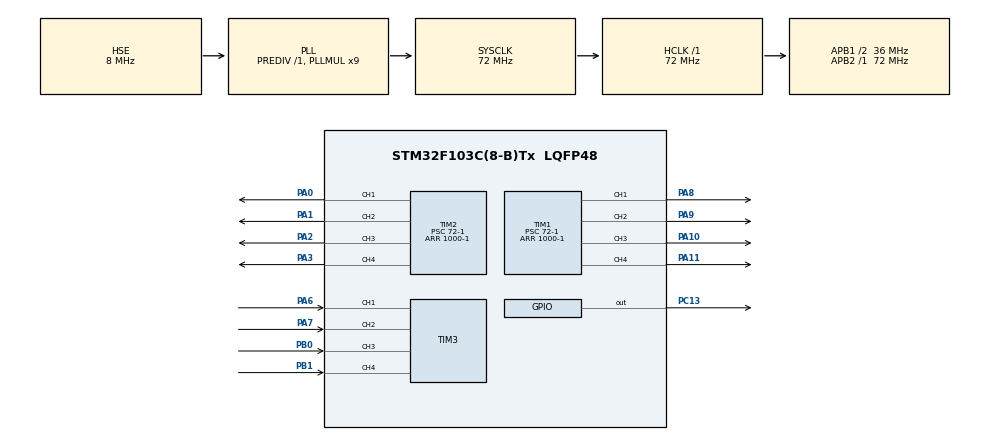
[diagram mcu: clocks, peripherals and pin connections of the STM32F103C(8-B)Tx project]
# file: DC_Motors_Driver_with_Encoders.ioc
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Mcu.Family=STM32F1
Mcu.Name=STM32F103C(8-B)Tx
Mcu.Package=LQFP48
NVIC.PriorityGroup=NVIC_PRIORITYGROUP_4
NVIC.TIM1_CC_IRQn=true\:0\:0\:false\:false\:true\:true\:true\:true
NVIC.TIM1_TRG_COM_IRQn=true\:0\:0\:false\:false\:true\:true\:true\:true
NVIC.TIM2_IRQn=true\:0\:0\:false\:false\:true\:true\:true\:true
NVIC.TIM3_IRQn=true\:0\:0\:false\:false\:true\:true\:true\:true
PA0-WKUP.Signal=S_TIM2_CH1_ETR
PA1.Signal=S_TIM2_CH2
PA10.Signal=S_TIM1_CH3
PA11.Signal=S_TIM1_CH4
PA13.Mode=Serial_Wire
PA13.Signal=SYS_JTMS-SWDIO
PA14.Mode=Serial_Wire
PA14.Signal=SYS_JTCK-SWCLK
PA2.Signal=S_TIM2_CH3
PA3.Signal=S_TIM2_CH4
PA6.Signal=S_TIM3_CH1
PA7.Signal=S_TIM3_CH2
PA8.Signal=S_TIM1_CH1
PA9.Signal=S_TIM1_CH2
PB0.Signal=S_TIM3_CH3
PB1.Signal=S_TIM3_CH4
PC13-TAMPER-RTC.Signal=GPIO_Output
PD0-OSC_IN.Mode=HSE-External-Oscillator
PD0-OSC_IN.Signal=RCC_OSC_IN
PD1-OSC_OUT.Mode=HSE-External-Oscillator
PD1-OSC_OUT.Signal=RCC_OSC_OUT
ProjectManager.HeapSize=0x200
ProjectManager.StackSize=0x400
ProjectManager.TargetToolchain=STM32CubeIDE
RCC.AHBFreq_Value=72000000
RCC.APB1CLKDivider=RCC_HCLK_DIV2
RCC.APB1Freq_Value=36000000
RCC.APB1TimFreq_Value=72000000
RCC.APB2Freq_Value=72000000
RCC.APB2TimFreq_Value=72000000
RCC.HCLKFreq_Value=72000000
RCC.PLLMUL=RCC_PLL_MUL9
RCC.PLLSourceVirtual=RCC_PLLSOURCE_HSE
RCC.SYSCLKFreq_VALUE=72000000
RCC.SYSCLKSource=RCC_SYSCLKSOURCE_PLLCLK
RCC.USBFreq_Value=72000000
SH.S_TIM1_CH1.0=TIM1_CH1,PWM Generation1 CH1
SH.S_TIM1_CH2.0=TIM1_CH2,PWM Generation2 CH2
SH.S_TIM1_CH3.0=TIM1_CH3,PWM Generation3 CH3
SH.S_TIM1_CH4.0=TIM1_CH4,PWM Generation4 CH4
SH.S_TIM2_CH1_ETR.0=TIM2_CH1,PWM Generation1 CH1
SH.S_TIM2_CH2.0=TIM2_CH2,PWM Generation2 CH2
SH.S_TIM2_CH3.0=TIM2_CH3,PWM Generation3 CH3
SH.S_TIM2_CH4.0=TIM2_CH4,PWM Generation4 CH4
SH.S_TIM3_CH1.0=TIM3_CH1,Input_Capture1_from_TI1
SH.S_TIM3_CH2.0=TIM3_CH2,Input_Capture2_from_TI2
SH.S_TIM3_CH3.0=TIM3_CH3,Input_Capture3_from_TI3
SH.S_TIM3_CH4.0=TIM3_CH4,Input_Capture4_from_TI4
TIM1.Channel-PWM\ Generation1\ CH1=TIM_CHANNEL_1
TIM1.Channel-PWM\ Generation2\ CH2=TIM_CHANNEL_2
TIM1.Channel-PWM\ Generation3\ CH3=TIM_CHANNEL_3
TIM1.Channel-PWM\ Generation4\ CH4=TIM_CHANNEL_4
TIM1.Period=1000-1
TIM1.Prescaler=72-1
TIM2.Channel-PWM\ Generation1\ CH1=TIM_CHANNEL_1
TIM2.Channel-PWM\ Generation2\ CH2=TIM_CHANNEL_2
TIM2.Channel-PWM\ Generation3\ CH3=TIM_CHANNEL_3
TIM2.Channel-PWM\ Generation4\ CH4=TIM_CHANNEL_4
TIM2.Period=1000-1
TIM2.Prescaler=72-1
TIM3.Channel-Input_Capture1_from_TI1=TIM_CHANNEL_1
TIM3.Channel-Input_Capture2_from_TI2=TIM_CHANNEL_2
TIM3.Channel-Input_Capture3_from_TI3=TIM_CHANNEL_3
TIM3.Channel-Input_Capture4_from_TI4=TIM_CHANNEL_4
VP_TIM1_VS_ClockSourceINT.Mode=Internal
VP_TIM2_VS_ClockSourceINT.Mode=Internal
board=custom

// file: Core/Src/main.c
/* USER CODE BEGIN Header */
/**
  ******************************************************************************
  * @file           : main.c
  * @brief          : Main program body
  ******************************************************************************
  * @attention
  *
  * Copyright (c) 2024 STMicroelectronics.
  * All rights reserved.
  *
  * This software is licensed under terms that can be found in the LICENSE file
  * in the root directory of this software component.
  * If no LICENSE file comes with this software, it is provided AS-IS.
  *
  ******************************************************************************
  */
/* USER CODE END Header */
#include "main.h"
#include "motor_driver.h"

TIM_HandleTypeDef htim1;
TIM_HandleTypeDef htim2;
TIM_HandleTypeDef htim3;

void SystemClock_Config(void);
static void MX_GPIO_Init(void);
static void MX_TIM1_Init(void);
static void MX_TIM2_Init(void);
static void MX_TIM3_Init(void);

/* USER CODE BEGIN 0 */

// Flash the LED connected to PC13
void Flash_LED(uint16_t delay_ms) {
    HAL_GPIO_TogglePin(GPIOC, GPIO_PIN_13);  // Toggle PC13 state
    HAL_Delay(delay_ms);                    // Delay for `delay_ms` milliseconds
}
/* USER CODE END 0 */

int main(void)
{

  /* USER CODE BEGIN 1 */
	// Start PWM Gen. in all Channels
	HAL_TIM_PWM_Start(&htim1, TIM_CHANNEL_1);
	HAL_TIM_PWM_Start(&htim1, TIM_CHANNEL_2);
	HAL_TIM_PWM_Start(&htim1, TIM_CHANNEL_3);
	HAL_TIM_PWM_Start(&htim1, TIM_CHANNEL_4);
	HAL_TIM_PWM_Start(&htim2, TIM_CHANNEL_1);
	HAL_TIM_PWM_Start(&htim2, TIM_CHANNEL_2);
	HAL_TIM_PWM_Start(&htim2, TIM_CHANNEL_3);
	HAL_TIM_PWM_Start(&htim2, TIM_CHANNEL_4);

    // Initialize motor instances
    motor M1 = Motor_Init(&htim1, TIM_CHANNEL_1, TIM_CHANNEL_2);
    motor M2 = Motor_Init(&htim1, TIM_CHANNEL_3, TIM_CHANNEL_4);
    motor M3 = Motor_Init(&htim2, TIM_CHANNEL_1, TIM_CHANNEL_2);
    motor M4 = Motor_Init(&htim2, TIM_CHANNEL_3, TIM_CHANNEL_4);

    // Indicate everything set successfully
//    HAL_GPIO_WritePin(GPIOC, GPIO_PIN_13, 0);

  /* USER CODE END 1 */

  /* MCU Configuration--------------------------------------------------------*/

  /* Reset of all peripherals, Initializes the Flash interface and the Systick. */
  HAL_Init();

  /* Configure the system clock */
  SystemClock_Config();

  /* Initialize all configured peripherals */
  MX_GPIO_Init();
  MX_TIM1_Init();
  MX_TIM2_Init();
  MX_TIM3_Init();

  /* Infinite loop */
  /* USER CODE BEGIN WHILE */
  while (1)
  {
	  // Set motor speeds

	      M1.speed(&M1, 500);
	      M2.speed(&M2, 500);
	      M3.speed(&M3, 500);
	      M4.speed(&M4, 500);
	      HAL_Delay(3000);
	      HAL_GPIO_TogglePin(GPIOC, GPIO_PIN_13);
	      M1.speed(&M1, -1000);
	      M2.speed(&M2, -1000);
	      M3.speed(&M3, -1000);
	      M4.speed(&M4, -1000);
	      HAL_Delay(3000);
	      HAL_GPIO_TogglePin(GPIOC, GPIO_PIN_13);

    /* USER CODE END WHILE */

  }
}

void SystemClock_Config(void)
{
  RCC_OscInitTypeDef RCC_OscInitStruct = {0};
  RCC_ClkInitTypeDef RCC_ClkInitStruct = {0};

  /** Initializes the RCC Oscillators according to the specified parameters
  * in the RCC_OscInitTypeDef structure.
  */
  RCC_OscInitStruct.OscillatorType = RCC_OSCILLATORTYPE_HSE;
  RCC_OscInitStruct.HSEState = RCC_HSE_ON;
  RCC_OscInitStruct.HSEPredivValue = RCC_HSE_PREDIV_DIV1;
  RCC_OscInitStruct.HSIState = RCC_HSI_ON;
  RCC_OscInitStruct.PLL.PLLState = RCC_PLL_ON;
  RCC_OscInitStruct.PLL.PLLSource = RCC_PLLSOURCE_HSE;
  RCC_OscInitStruct.PLL.PLLMUL = RCC_PLL_MUL9;
  if (HAL_RCC_OscConfig(&RCC_OscInitStruct) != HAL_OK)
  {
    Error_Handler();
  }

  /** Initializes the CPU, AHB and APB buses clocks
  */
  RCC_ClkInitStruct.ClockType = RCC_CLOCKTYPE_HCLK|RCC_CLOCKTYPE_SYSCLK
                              |RCC_CLOCKTYPE_PCLK1|RCC_CLOCKTYPE_PCLK2;
  RCC_ClkInitStruct.SYSCLKSource = RCC_SYSCLKSOURCE_PLLCLK;
  RCC_ClkInitStruct.AHBCLKDivider = RCC_SYSCLK_DIV1;
  RCC_ClkInitStruct.APB1CLKDivider = RCC_HCLK_DIV2;
  RCC_ClkInitStruct.APB2CLKDivider = RCC_HCLK_DIV1;

  if (HAL_RCC_ClockConfig(&RCC_ClkInitStruct, FLASH_LATENCY_2) != HAL_OK)
  {
    Error_Handler();
  }
}

static void MX_TIM1_Init(void)
{

  TIM_ClockConfigTypeDef sClockSourceConfig = {0};
  TIM_MasterConfigTypeDef sMasterConfig = {0};
  TIM_OC_InitTypeDef sConfigOC = {0};
  TIM_BreakDeadTimeConfigTypeDef sBreakDeadTimeConfig = {0};

  htim1.Instance = TIM1;
  htim1.Init.Prescaler = 72-1;
  htim1.Init.CounterMode = TIM_COUNTERMODE_UP;
  htim1.Init.Period = 1000-1;
  htim1.Init.ClockDivision = TIM_CLOCKDIVISION_DIV1;
  htim1.Init.RepetitionCounter = 0;
  htim1.Init.AutoReloadPreload = TIM_AUTORELOAD_PRELOAD_DISABLE;
  if (HAL_TIM_Base_Init(&htim1) != HAL_OK)
  {
    Error_Handler();
  }
  sClockSourceConfig.ClockSource = TIM_CLOCKSOURCE_INTERNAL;
  if (HAL_TIM_ConfigClockSource(&htim1, &sClockSourceConfig) != HAL_OK)
  {
    Error_Handler();
  }
  if (HAL_TIM_PWM_Init(&htim1) != HAL_OK)
  {
    Error_Handler();
  }
  sMasterConfig.MasterOutputTrigger = TIM_TRGO_RESET;
  sMasterConfig.MasterSlaveMode = TIM_MASTERSLAVEMODE_DISABLE;
  if (HAL_TIMEx_MasterConfigSynchronization(&htim1, &sMasterConfig) != HAL_OK)
  {
    Error_Handler();
  }
  sConfigOC.OCMode = TIM_OCMODE_PWM1;
  sConfigOC.Pulse = 0;
  sConfigOC.OCPolarity = TIM_OCPOLARITY_HIGH;
  sConfigOC.OCNPolarity = TIM_OCNPOLARITY_HIGH;
  sConfigOC.OCFastMode = TIM_OCFAST_DISABLE;
  sConfigOC.OCIdleState = TIM_OCIDLESTATE_RESET;
  sConfigOC.OCNIdleState = TIM_OCNIDLESTATE_RESET;
  if (HAL_TIM_PWM_ConfigChannel(&htim1, &sConfigOC, TIM_CHANNEL_1) != HAL_OK)
  {
    Error_Handler();
  }
  if (HAL_TIM_PWM_ConfigChannel(&htim1, &sConfigOC, TIM_CHANNEL_2) != HAL_OK)
  {
    Error_Handler();
  }
  if (HAL_TIM_PWM_ConfigChannel(&htim1, &sConfigOC, TIM_CHANNEL_3) != HAL_OK)
  {
    Error_Handler();
  }
  if (HAL_TIM_PWM_ConfigChannel(&htim1, &sConfigOC, TIM_CHANNEL_4) != HAL_OK)
  {
    Error_Handler();
  }
  sBreakDeadTimeConfig.OffStateRunMode = TIM_OSSR_DISABLE;
  sBreakDeadTimeConfig.OffStateIDLEMode = TIM_OSSI_DISABLE;
  sBreakDeadTimeConfig.LockLevel = TIM_LOCKLEVEL_OFF;
  sBreakDeadTimeConfig.DeadTime = 0;
  sBreakDeadTimeConfig.BreakState = TIM_BREAK_DISABLE;
  sBreakDeadTimeConfig.BreakPolarity = TIM_BREAKPOLARITY_HIGH;
  sBreakDeadTimeConfig.AutomaticOutput = TIM_AUTOMATICOUTPUT_DISABLE;
  if (HAL_TIMEx_ConfigBreakDeadTime(&htim1, &sBreakDeadTimeConfig) != HAL_OK)
  {
    Error_Handler();
  }
  HAL_TIM_MspPostInit(&htim1);

}

static void MX_TIM2_Init(void)
{

  TIM_ClockConfigTypeDef sClockSourceConfig = {0};
  TIM_MasterConfigTypeDef sMasterConfig = {0};
  TIM_OC_InitTypeDef sConfigOC = {0};

  htim2.Instance = TIM2;
  htim2.Init.Prescaler = 72-1;
  htim2.Init.CounterMode = TIM_COUNTERMODE_UP;
  htim2.Init.Period = 1000-1;
  htim2.Init.ClockDivision = TIM_CLOCKDIVISION_DIV1;
  htim2.Init.AutoReloadPreload = TIM_AUTORELOAD_PRELOAD_DISABLE;
  if (HAL_TIM_Base_Init(&htim2) != HAL_OK)
  {
    Error_Handler();
  }
  sClockSourceConfig.ClockSource = TIM_CLOCKSOURCE_INTERNAL;
  if (HAL_TIM_ConfigClockSource(&htim2, &sClockSourceConfig) != HAL_OK)
  {
    Error_Handler();
  }
  if (HAL_TIM_PWM_Init(&htim2) != HAL_OK)
  {
    Error_Handler();
  }
  sMasterConfig.MasterOutputTrigger = TIM_TRGO_RESET;
  sMasterConfig.MasterSlaveMode = TIM_MASTERSLAVEMODE_DISABLE;
  if (HAL_TIMEx_MasterConfigSynchronization(&htim2, &sMasterConfig) != HAL_OK)
  {
    Error_Handler();
  }
  sConfigOC.OCMode = TIM_OCMODE_PWM1;
  sConfigOC.Pulse = 0;
  sConfigOC.OCPolarity = TIM_OCPOLARITY_HIGH;
  sConfigOC.OCFastMode = TIM_OCFAST_DISABLE;
  if (HAL_TIM_PWM_ConfigChannel(&htim2, &sConfigOC, TIM_CHANNEL_1) != HAL_OK)
  {
    Error_Handler();
  }
  if (HAL_TIM_PWM_ConfigChannel(&htim2, &sConfigOC, TIM_CHANNEL_2) != HAL_OK)
  {
    Error_Handler();
  }
  if (HAL_TIM_PWM_ConfigChannel(&htim2, &sConfigOC, TIM_CHANNEL_3) != HAL_OK)
  {
    Error_Handler();
  }
  if (HAL_TIM_PWM_ConfigChannel(&htim2, &sConfigOC, TIM_CHANNEL_4) != HAL_OK)
  {
    Error_Handler();
  }
  HAL_TIM_MspPostInit(&htim2);

}

static void MX_TIM3_Init(void)
{

  TIM_MasterConfigTypeDef sMasterConfig = {0};
  TIM_IC_InitTypeDef sConfigIC = {0};

  htim3.Instance = TIM3;
  htim3.Init.Prescaler = 0;
  htim3.Init.CounterMode = TIM_COUNTERMODE_UP;
  htim3.Init.Period = 65535;
  htim3.Init.ClockDivision = TIM_CLOCKDIVISION_DIV1;
  htim3.Init.AutoReloadPreload = TIM_AUTORELOAD_PRELOAD_DISABLE;
  if (HAL_TIM_IC_Init(&htim3) != HAL_OK)
  {
    Error_Handler();
  }
  sMasterConfig.MasterOutputTrigger = TIM_TRGO_RESET;
  sMasterConfig.MasterSlaveMode = TIM_MASTERSLAVEMODE_DISABLE;
  if (HAL_TIMEx_MasterConfigSynchronization(&htim3, &sMasterConfig) != HAL_OK)
  {
    Error_Handler();
  }
  sConfigIC.ICPolarity = TIM_INPUTCHANNELPOLARITY_RISING;
  sConfigIC.ICSelection = TIM_ICSELECTION_DIRECTTI;
  sConfigIC.ICPrescaler = TIM_ICPSC_DIV1;
  sConfigIC.ICFilter = 0;
  if (HAL_TIM_IC_ConfigChannel(&htim3, &sConfigIC, TIM_CHANNEL_1) != HAL_OK)
  {
    Error_Handler();
  }
  if (HAL_TIM_IC_ConfigChannel(&htim3, &sConfigIC, TIM_CHANNEL_2) != HAL_OK)
  {
    Error_Handler();
  }
  if (HAL_TIM_IC_ConfigChannel(&htim3, &sConfigIC, TIM_CHANNEL_3) != HAL_OK)
  {
    Error_Handler();
  }
  if (HAL_TIM_IC_ConfigChannel(&htim3, &sConfigIC, TIM_CHANNEL_4) != HAL_OK)
  {
    Error_Handler();
  }

}

static void MX_GPIO_Init(void)
{
  GPIO_InitTypeDef GPIO_InitStruct = {0};

  /* GPIO Ports Clock Enable */
  __HAL_RCC_GPIOC_CLK_ENABLE();
  __HAL_RCC_GPIOD_CLK_ENABLE();
  __HAL_RCC_GPIOA_CLK_ENABLE();
  __HAL_RCC_GPIOB_CLK_ENABLE();

  /*Configure GPIO pin Output Level */
  HAL_GPIO_WritePin(GPIOC, GPIO_PIN_13, GPIO_PIN_RESET);

  /*Configure GPIO pin : PC13 */
  GPIO_InitStruct.Pin = GPIO_PIN_13;
  GPIO_InitStruct.Mode = GPIO_MODE_OUTPUT_PP;
  GPIO_InitStruct.Pull = GPIO_NOPULL;
  GPIO_InitStruct.Speed = GPIO_SPEED_FREQ_LOW;
  HAL_GPIO_Init(GPIOC, &GPIO_InitStruct);

}

void Error_Handler(void)
{
  __disable_irq();
  while (1)
  {
  }
}
